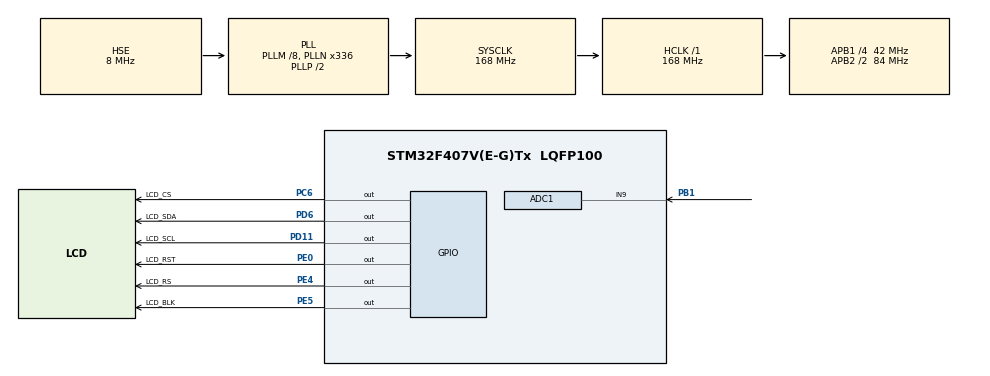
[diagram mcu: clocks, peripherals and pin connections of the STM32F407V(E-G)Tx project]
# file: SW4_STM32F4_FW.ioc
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ADC1.Channel-0\#ChannelRegularConversion=ADC_CHANNEL_9
ADC1.Channel-1\#ChannelRegularConversion=ADC_CHANNEL_TEMPSENSOR
ADC1.ContinuousConvMode=ENABLE
ADC1.DMAContinuousRequests=ENABLE
ADC1.NbrOfConversion=2
ADC1.NbrOfConversionFlag=1
ADC1.Rank-0\#ChannelRegularConversion=1
ADC1.Rank-1\#ChannelRegularConversion=2
ADC1.SamplingTime-0\#ChannelRegularConversion=ADC_SAMPLETIME_3CYCLES
ADC1.SamplingTime-1\#ChannelRegularConversion=ADC_SAMPLETIME_3CYCLES
ADC1.ScanConvMode=ENABLE
ADC1.master=1
Dma.ADC1.0.Direction=DMA_PERIPH_TO_MEMORY
Dma.ADC1.0.FIFOMode=DMA_FIFOMODE_DISABLE
Dma.ADC1.0.Instance=DMA2_Stream0
Dma.ADC1.0.MemDataAlignment=DMA_MDATAALIGN_HALFWORD
Dma.ADC1.0.MemInc=DMA_MINC_ENABLE
Dma.ADC1.0.Mode=DMA_NORMAL
Dma.ADC1.0.PeriphDataAlignment=DMA_PDATAALIGN_HALFWORD
Dma.ADC1.0.PeriphInc=DMA_PINC_DISABLE
Dma.ADC1.0.Priority=DMA_PRIORITY_LOW
Dma.Request0=ADC1
Mcu.Family=STM32F4
Mcu.Name=STM32F407V(E-G)Tx
Mcu.Package=LQFP100
NVIC.ADC_IRQn=true\:0\:0\:false\:false\:true\:true\:true
NVIC.DMA2_Stream0_IRQn=true\:0\:0\:false\:false\:true\:false\:true
NVIC.PriorityGroup=NVIC_PRIORITYGROUP_4
PA13.Mode=Serial_Wire
PA13.Signal=SYS_JTMS-SWDIO
PA14.Mode=Serial_Wire
PA14.Signal=SYS_JTCK-SWCLK
PB1.Signal=ADCx_IN9
PC14-OSC32_IN.Mode=LSE-External-Oscillator
PC14-OSC32_IN.Signal=RCC_OSC32_IN
PC15-OSC32_OUT.Mode=LSE-External-Oscillator
PC15-OSC32_OUT.Signal=RCC_OSC32_OUT
PC6.GPIO_Label=LCD_CS
PC6.GPIO_PuPd=GPIO_PULLUP
PC6.GPIO_Speed=GPIO_SPEED_FREQ_VERY_HIGH
PC6.PinState=GPIO_PIN_SET
PC6.Signal=GPIO_Output
PD11.GPIO_Label=LCD_SCL
PD11.GPIO_PuPd=GPIO_PULLUP
PD11.GPIO_Speed=GPIO_SPEED_FREQ_VERY_HIGH
PD11.PinState=GPIO_PIN_SET
PD11.Signal=GPIO_Output
PD6.GPIO_Label=LCD_SDA
PD6.GPIO_PuPd=GPIO_PULLUP
PD6.GPIO_Speed=GPIO_SPEED_FREQ_VERY_HIGH
PD6.PinState=GPIO_PIN_SET
PD6.Signal=GPIO_Output
PE0.GPIO_Label=LCD_RST
PE0.GPIO_PuPd=GPIO_PULLUP
PE0.GPIO_Speed=GPIO_SPEED_FREQ_VERY_HIGH
PE0.PinState=GPIO_PIN_SET
PE0.Signal=GPIO_Output
PE4.GPIO_Label=LCD_RS
PE4.GPIO_PuPd=GPIO_PULLUP
PE4.GPIO_Speed=GPIO_SPEED_FREQ_VERY_HIGH
PE4.PinState=GPIO_PIN_SET
PE4.Signal=GPIO_Output
PE5.GPIO_Label=LCD_BLK
PE5.GPIO_PuPd=GPIO_PULLUP
PE5.GPIO_Speed=GPIO_SPEED_FREQ_VERY_HIGH
PE5.PinState=GPIO_PIN_SET
PE5.Signal=GPIO_Output
PH0-OSC_IN.Mode=HSE-External-Oscillator
PH0-OSC_IN.Signal=RCC_OSC_IN
PH1-OSC_OUT.Mode=HSE-External-Oscillator
PH1-OSC_OUT.Signal=RCC_OSC_OUT
ProjectManager.HeapSize=0x200
ProjectManager.StackSize=0x400
ProjectManager.TargetToolchain=SW4STM32
RCC.48MHZClocksFreq_Value=84000000
RCC.AHBFreq_Value=168000000
RCC.APB1CLKDivider=RCC_HCLK_DIV4
RCC.APB1Freq_Value=42000000
RCC.APB1TimFreq_Value=84000000
RCC.APB2CLKDivider=RCC_HCLK_DIV2
RCC.APB2Freq_Value=84000000
RCC.APB2TimFreq_Value=168000000
RCC.CortexFreq_Value=168000000
RCC.HCLKFreq_Value=168000000
RCC.HSE_VALUE=8000000
RCC.HSI_VALUE=16000000
RCC.PLLM=8
RCC.PLLN=336
RCC.PLLSourceVirtual=RCC_PLLSOURCE_HSE
RCC.SYSCLKFreq_VALUE=168000000
RCC.SYSCLKSource=RCC_SYSCLKSOURCE_PLLCLK
RCC.VCOOutputFreq_Value=336000000
SH.ADCx_IN9.0=ADC1_IN9,IN9
VP_ADC1_TempSens_Input.Mode=IN-TempSens
board=custom

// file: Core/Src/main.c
/* USER CODE BEGIN Header */
/**
  ******************************************************************************
  * @file           : main.c
  * @brief          : Main program body
  ******************************************************************************
  * @attention
  *
  * <h2><center>&copy; Copyright (c) 2022 STMicroelectronics.
  * All rights reserved.</center></h2>
  *
  * This software component is licensed by ST under BSD 3-Clause license,
  * the "License"; You may not use this file except in compliance with the
  * License. You may obtain a copy of the License at:
  *                        opensource.org/licenses/BSD-3-Clause
  *
  ******************************************************************************
  */
/* USER CODE END Header */
#include "main.h"
#include "adc.h"
#include "dma.h"
#include "gpio.h"

/* USER CODE BEGIN Includes */
#include "delay.h"
#include "GUI.h"
#include "Lcd_Driver.h"
#include "adc_function.h"
#include "ntc.h"
/* USER CODE END Includes */

void SystemClock_Config(void);

int main(void)
{

  /* MCU Configuration--------------------------------------------------------*/

  /* Reset of all peripherals, Initializes the Flash interface and the Systick. */
  HAL_Init();

  /* Configure the system clock */
  SystemClock_Config();

  /* Initialize all configured peripherals */
  MX_GPIO_Init();
  MX_DMA_Init();
  MX_ADC1_Init();
  /* USER CODE BEGIN 2 */
    delay_init(168);
    Lcd_Init();
    LCD_BLK_SET;
    delay_ms(200);
    LCD_BLK_CLR;
    delay_ms(200);
    LCD_BLK_SET;
    Lcd_Clear(BLACK);

    HAL_ADC_Start_DMA(&hadc1,(uint32_t*)&ADC_Value,100);
  /* USER CODE END 2 */

  /* Infinite loop */
  while (1)
  {

    /* USER CODE BEGIN 3 */
      delay_ms(1000);
      ADC_FUNCTION();
      TEMP_DATA();
      Gui_DrawFont_GBK16(0,16,WHITE,BLACK,"MCU_TEMP:");
      Gui_DrawFont_GBK16(100,16,WHITE,BLACK,"��");
      LCD_ShowNum(70,16,MCU_TEMP,3);
      Gui_DrawFont_GBK16(0,32,WHITE,BLACK,"NTC_TEMP:");
      Gui_DrawFont_GBK16(100,32,WHITE,BLACK,"��");
      LCD_ShowNum(70,32,NTC_TEMP,3);
      HAL_ADC_Start_DMA(&hadc1,(uint32_t*)&ADC_Value,100);
  }
  /* USER CODE END 3 */
}

void SystemClock_Config(void)
{
  RCC_OscInitTypeDef RCC_OscInitStruct = {0};
  RCC_ClkInitTypeDef RCC_ClkInitStruct = {0};

  /** Configure the main internal regulator output voltage
  */
  __HAL_RCC_PWR_CLK_ENABLE();
  __HAL_PWR_VOLTAGESCALING_CONFIG(PWR_REGULATOR_VOLTAGE_SCALE1);
  /** Initializes the RCC Oscillators according to the specified parameters
  * in the RCC_OscInitTypeDef structure.
  */
  RCC_OscInitStruct.OscillatorType = RCC_OSCILLATORTYPE_HSE;
  RCC_OscInitStruct.HSEState = RCC_HSE_ON;
  RCC_OscInitStruct.PLL.PLLState = RCC_PLL_ON;
  RCC_OscInitStruct.PLL.PLLSource = RCC_PLLSOURCE_HSE;
  RCC_OscInitStruct.PLL.PLLM = 8;
  RCC_OscInitStruct.PLL.PLLN = 336;
  RCC_OscInitStruct.PLL.PLLP = RCC_PLLP_DIV2;
  RCC_OscInitStruct.PLL.PLLQ = 4;
  if (HAL_RCC_OscConfig(&RCC_OscInitStruct) != HAL_OK)
  {
    Error_Handler();
  }
  /** Initializes the CPU, AHB and APB buses clocks
  */
  RCC_ClkInitStruct.ClockType = RCC_CLOCKTYPE_HCLK|RCC_CLOCKTYPE_SYSCLK
                              |RCC_CLOCKTYPE_PCLK1|RCC_CLOCKTYPE_PCLK2;
  RCC_ClkInitStruct.SYSCLKSource = RCC_SYSCLKSOURCE_PLLCLK;
  RCC_ClkInitStruct.AHBCLKDivider = RCC_SYSCLK_DIV1;
  RCC_ClkInitStruct.APB1CLKDivider = RCC_HCLK_DIV4;
  RCC_ClkInitStruct.APB2CLKDivider = RCC_HCLK_DIV2;

  if (HAL_RCC_ClockConfig(&RCC_ClkInitStruct, FLASH_LATENCY_5) != HAL_OK)
  {
    Error_Handler();
  }
}

void Error_Handler(void)
{
  __disable_irq();
  while (1)
  {
  }
}

/************************ (C) COPYRIGHT STMicroelectronics *****END OF FILE****/
